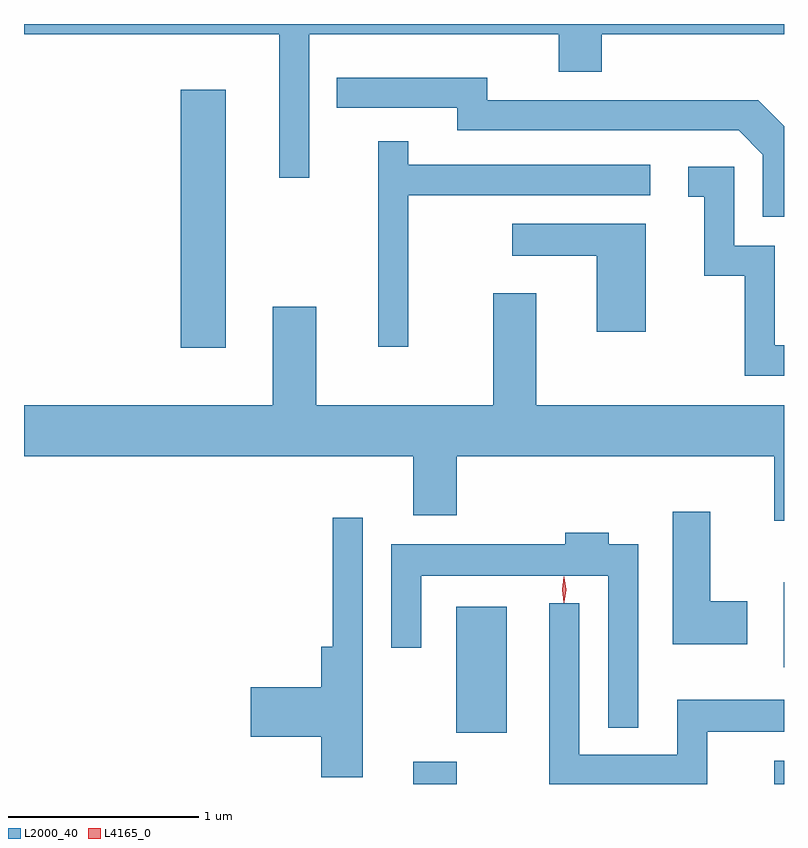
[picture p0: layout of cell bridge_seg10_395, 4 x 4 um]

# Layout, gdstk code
import gdstk
lib = gdstk.Library(unit=1e-6, precision=1e-09)
def R(c, l, rs):  # rectangles x0, y0, x1, y1
    for r in rs: c.add(gdstk.rectangle(r[:2], r[2:], *l))
def P(c, l, *ps):  # polygons
    for p in ps: c.add(gdstk.Polygon(p, *l))
L2000_40 = (2000, 40)
L4165_0 = (4165, 0)

bridge_seg10_395 = lib.new_cell('bridge_seg10_395')
R(bridge_seg10_395, L2000_40, [(1396.821,2114.411,1397.049,2114.529), (1398.721,2114.411,1398.772,2114.534), (1397.046,2114.681,1397.314,2115.344), (1398.771,2115.026,1398.772,2115.474), (1395.596,2116.706,1395.834,2118.064)])
P(bridge_seg10_395, L2000_40, [(1396.274,2118.356),(1397.586,2118.356),(1397.586,2118.161),(1397.814,2118.161),(1397.814,2118.356),(1398.772,2118.356),(1398.772,2118.411),(1394.772,2118.411),(1394.772,2118.356),(1396.116,2118.356),(1396.116,2117.603),(1396.274,2117.603)],
  [(1398.772,2117.874),(1398.637,2118.009),(1397.209,2118.009),(1397.209,2118.129),(1396.418,2118.129),(1396.418,2117.971),(1397.051,2117.971),(1397.051,2117.851),(1398.534,2117.851),(1398.661,2117.724),(1398.661,2117.396),(1398.772,2117.396)],
  [(1396.794,2117.511),(1398.068,2117.511),(1398.068,2117.669),(1396.794,2117.669),(1396.794,2117.793),(1396.636,2117.793),(1396.636,2116.713),(1396.794,2116.713)],
  [(1398.772,2116.719),(1398.724,2116.719),(1398.724,2117.244),(1398.509,2117.244),(1398.509,2117.659),(1398.268,2117.659),(1398.268,2117.501),(1398.351,2117.501),(1398.351,2117.086),(1398.566,2117.086),(1398.566,2116.561),(1398.772,2116.561)],
  [(1398.044,2117.359),(1397.343,2117.359),(1397.343,2117.191),(1397.786,2117.191),(1397.786,2116.791),(1398.044,2116.791)],
  [(1398.772,2116.404),(1397.469,2116.404),(1397.469,2116.994),(1397.241,2116.994),(1397.241,2116.404),(1396.309,2116.404),(1396.309,2116.924),(1396.081,2116.924),(1396.081,2116.404),(1394.772,2116.404),(1394.772,2116.136),(1396.821,2116.136),(1396.821,2115.826),(1397.049,2115.826),(1397.049,2116.136),(1398.721,2116.136),(1398.721,2115.796),(1398.772,2115.796)],
  [(1398.579,2115.374),(1398.384,2115.374),(1398.384,2115.844),(1398.186,2115.844),(1398.186,2115.146),(1398.579,2115.146)],
  [(1396.554,2115.813),(1396.396,2115.813),(1396.396,2115.134),(1396.336,2115.134),(1396.336,2114.919),(1395.966,2114.919),(1395.966,2114.661),(1396.336,2114.661),(1396.336,2114.446),(1396.554,2114.446)],
  [(1398.004,2115.674),(1397.849,2115.674),(1397.849,2115.734),(1397.621,2115.734),(1397.621,2115.674),(1396.706,2115.674),(1396.706,2115.128),(1396.864,2115.128),(1396.864,2115.506),(1397.846,2115.506),(1397.846,2114.708),(1398.004,2114.708)],
  [(1398.369,2114.686),(1398.772,2114.686),(1398.772,2114.854),(1398.211,2114.854),(1398.211,2114.564),(1397.694,2114.564),(1397.694,2115.363),(1397.536,2115.363),(1397.536,2114.411),(1398.369,2114.411)])
P(bridge_seg10_395, L4165_0, [(1397.614,2115.367),(1397.605,2115.434),(1397.614,2115.5),(1397.615,2115.5),(1397.615,2115.5),(1397.625,2115.434),(1397.615,2115.367),(1397.615,2115.367)],
  [(1397.614,2115.364),(1397.614,2115.364),(1397.604,2115.434),(1397.614,2115.502),(1397.614,2115.503),(1397.615,2115.502),(1397.624,2115.434),(1397.615,2115.364)])

lib.write_gds('bridge_seg10_395.gds')
